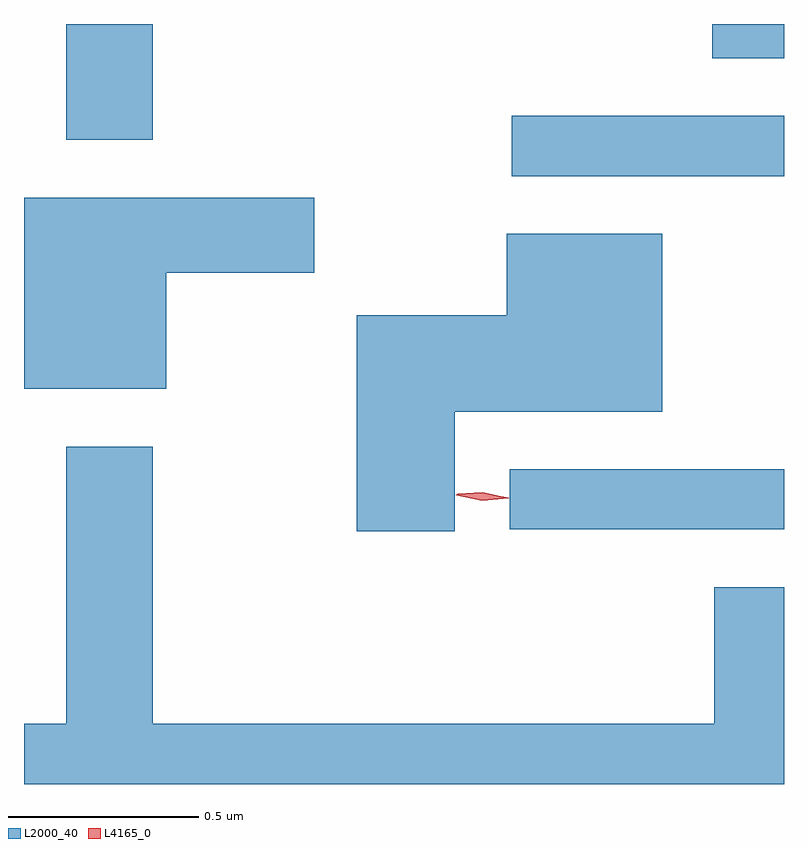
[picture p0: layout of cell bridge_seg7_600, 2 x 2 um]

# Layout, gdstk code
import gdstk
lib = gdstk.Library(unit=1e-6, precision=1e-09)
def R(c, l, rs):  # rectangles x0, y0, x1, y1
    for r in rs: c.add(gdstk.rectangle(r[:2], r[2:], *l))
def P(c, l, *ps):  # polygons
    for p in ps: c.add(gdstk.Polygon(p, *l))
L2000_40 = (2000, 40)
L4165_0 = (4165, 0)

bridge_seg7_600 = lib.new_cell('bridge_seg7_600')
R(bridge_seg7_600, L2000_40, [(764.378,1746.176,765.1,1746.334), (764.383,1747.106,765.1,1747.264), (763.211,1747.201,763.439,1747.506), (764.911,1747.416,765.1,1747.506)])
P(bridge_seg7_600, L2000_40, [(763.474,1746.851),(763.864,1746.851),(763.864,1747.049),(763.1,1747.049),(763.1,1746.546),(763.474,1746.546)],
  [(764.234,1746.486),(764.779,1746.486),(764.779,1746.954),(764.371,1746.954),(764.371,1746.739),(763.976,1746.739),(763.976,1746.171),(764.234,1746.171)],
  [(765.1,1746.024),(764.916,1746.024),(764.916,1745.664),(763.439,1745.664),(763.439,1746.394),(763.211,1746.394),(763.211,1745.664),(763.1,1745.664),(763.1,1745.506),(765.1,1745.506)])
P(bridge_seg7_600, L4165_0, [(764.306,1746.252),(764.238,1746.266),(764.238,1746.266),(764.238,1746.267),(764.307,1746.272),(764.375,1746.259),(764.376,1746.258),(764.375,1746.258)],
  [(764.306,1746.254),(764.241,1746.269),(764.24,1746.269),(764.241,1746.27),(764.307,1746.274),(764.372,1746.259),(764.372,1746.258),(764.372,1746.258)])

lib.write_gds('bridge_seg7_600.gds')
